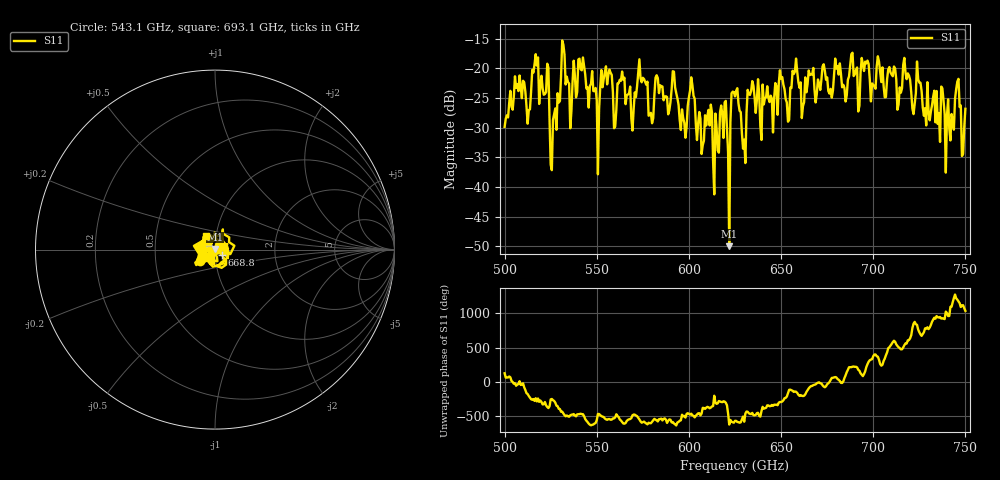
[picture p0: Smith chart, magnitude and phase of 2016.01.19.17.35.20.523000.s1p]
!Created with skrf (http://scikit-rf.org).
# GHz S RI R 50.0
!freq ReS11 ImS11
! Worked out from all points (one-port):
!   401 points, 500 GHz to 750 GHz, reference 50 ohm
!   lowest |S11| = -50.0 dB at 621.9 GHz (marker M1), VSWR 1.01, Z = 50 + j0.315 ohm
!   |S11| at or under -10 dB: start of sweep to end of sweep
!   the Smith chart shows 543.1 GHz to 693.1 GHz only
!   S11 on the Smith chart (normalised r, x): 543.1 GHz: 0.84, -0.11; 668.8 GHz: 1.08, -0.07; 693.1 GHz: 0.89, +0.14
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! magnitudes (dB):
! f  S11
! 500 GHz  -29.9
! 506.9 GHz  -22.6
! 513.1 GHz  -27.0
! 516.9 GHz  -17.6
! 523.1 GHz  -19.2
! 525.6 GHz  -37.2
! 531.2 GHz  -15.3
! 535.6 GHz  -30.1
! 543.1 GHz  -19.6
! 550 GHz  -25.4
! 553.8 GHz  -21.8
! 560 GHz  -29.8
! 562.5 GHz  -21.9
! 593.8 GHz  -25.0
! 598.1 GHz  -31.7
! 601.9 GHz  -22.8
! 614.4 GHz  -27.6
! 618.8 GHz  -31.7
! 621.9 GHz  -50.0
! 625 GHz  -24.7
! 630 GHz  -32.0
! 633.1 GHz  -24.5
! 656.2 GHz  -20.4
! 668.8 GHz  -25.8
! 687.5 GHz  -19.6
! 693.1 GHz  -20.7
! 718.8 GHz  -20.8
! 750 GHz  -26.8
